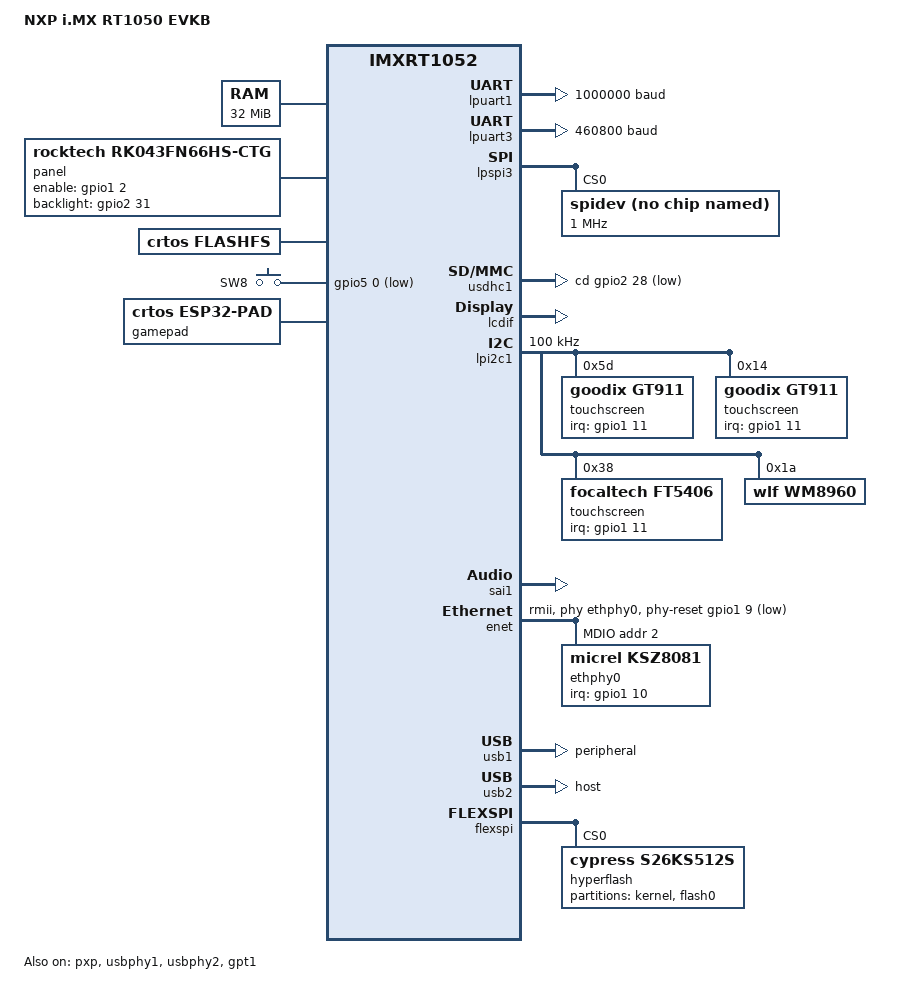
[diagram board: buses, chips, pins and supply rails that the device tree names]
// SPDX-License-Identifier: BSD-3-Clause
/*
 * NXP i.MX RT1050 EVKB board description for CRTOS.
 * Pin settings follow the SDK board examples (elcdif/lvgl, lwip_ping, sdcard).
 */
/dts-v1/;

#include "imxrt1052.dtsi"
#include <dt-bindings/input/input.h>

/ {
	model = "NXP i.MX RT1050 EVKB";
	compatible = "fsl,evkbimxrt1050", "fsl,imxrt1052";

	aliases {
		serial0 = &lpuart1;
		serial3 = &lpuart3;
		spi3 = &lpspi3;
		mmc0 = &usdhc1;
		display0 = &lcdif;
		ethernet0 = &enet;
	};

	chosen {
		stdout-path = "serial0:1000000n8";
		crtos,init = "/sd/crtos/sbin/init.app";
	};

	sdram: memory@80000000 {
		device_type = "memory";
		reg = <0x80000000 0x2000000>;
	};

	/* The panel on the 40-pin RGB connector (and its touch controller on the 6-pin one). EVKB
	 * ships with the RK043FN66HS-CTG (GT911 touch) or the older RK043FN02H-CT (FT5406), both
	 * 480x272; 5"/7" 800x480 panels with the same 40-pin connector fit as well. One mode per
	 * panel: the display starts in native-mode and changes to the size the touch controller
	 * was configured for when it reports one (GT911: fb_suggest_size). The 800x480 panel is
	 * the default because its touch is not detected; the RK043 ones are. */
	panel: panel {
		compatible = "rocktech,rk043fn66hs-ctg", "rocktech,rk043fn02h-ct";
		/* LCD_RST: the reset of the panel's touch controller (the panel's DISP is pulled up
		 * on the board, R67) */
		enable-gpios = <&gpio1 2 GPIO_ACTIVE_HIGH>;
		backlight-gpios = <&gpio2 31 GPIO_ACTIVE_HIGH>;
		bus-width = <16>;

		display-timings {
			native-mode = <&timing1>;

			/* RK043FN66HS / RK043FN02H (from the SDK, RK043FN66HS values) */
			timing0: timing-480x272 {
				clock-frequency = <9300000>;
				hactive = <480>;
				vactive = <272>;
				hfront-porch = <8>;
				hback-porch = <43>;
				hsync-len = <4>;
				vfront-porch = <8>;
				vback-porch = <12>;
				vsync-len = <4>;
				hsync-active = <0>;
				vsync-active = <0>;
				de-active = <1>;
				pixelclk-active = <1>;
			};

			/* 5"/7" 800x480 TFT with a 40-pin RGB connector, DE mode: blanking as in the usual
			 * HV-mode figures (back porch 46 clocks / 23 lines from the sync, front porch 40 /
			 * 12), 27 MHz (24 MHz * 45 / 5 / 8 exactly) for 59.2 Hz - the scan-out reads
			 * 45 MB/s of SDRAM, three times as much as at 480x272 */
			timing1: timing-800x480 {
				clock-frequency = <27000000>;
				hactive = <800>;
				vactive = <480>;
				hfront-porch = <40>;
				hback-porch = <26>;
				hsync-len = <20>;
				vfront-porch = <12>;
				vback-porch = <13>;
				vsync-len = <10>;
				hsync-active = <0>;
				vsync-active = <0>;
				de-active = <1>;
				pixelclk-active = <1>;
			};
		};
	};

	/* files on the unused HyperFlash, programs there run in place (drivers/fs/flashfs.c) */
	flashfs {
		compatible = "crtos,flashfs";
		partition = <&flash0_part>;
		mountpoint = "/flash0";
	};

	gpio-keys {
		compatible = "gpio-keys";
		pinctrl-names = "default";
		pinctrl-0 = <&pinctrl_keys>;

		user-button {
			label = "SW8";
			gpios = <&gpio5 0 GPIO_ACTIVE_LOW>;
			linux,code = <KEY_HOME>;
			debounce-interval = <20>;
		};
	};

	/* The display belongs to the graphics server (gfxd). For a bare hardware check without
	 * it, add a node with compatible = "crtos,touchpaint" (module tests/drivers/touchpaint). */

	/* A DualSense (Edge) pad over Bluetooth through the ESP32 bridge (esp32-s3-bt-mod/):
	 * ESP32 GPIO17 (UART2 TX) -> J22 D0 (LPUART3 RX), GND -> GND. The driver
	 * (drivers/input/esp32-pad) reads the bridge's frames and makes the pad an input device. */
	gamepad {
		compatible = "crtos,esp32-pad";
		port = "/dev/ttyS3";
		current-speed = <460800>;
	};

	/* the TCP/IP stack (lwIP, drivers/net/lwip): sockets on every network interface */
	tcpip {
		compatible = "crtos,lwip";
	};

	/* driven by the example module examples/drivers/hello (tests DT -> module autoloading) */
	hello-test {
		compatible = "crtos,hello";
		label = "device tree test node";
	};
};

&iomuxc {
	pinctrl_lpuart1: lpuart1grp {
		fsl,pins = <
			MXRT1050_IOMUXC_GPIO_AD_B0_12_LPUART1_TXD 0x10b0
			MXRT1050_IOMUXC_GPIO_AD_B0_13_LPUART1_RXD 0x10b0
		>;
	};

	/* Arduino header J22: pin 2 (D1) TX, pin 1 (D0) RX (shared with the camera connector) */
	pinctrl_lpuart3: lpuart3grp {
		fsl,pins = <
			MXRT1050_IOMUXC_GPIO_AD_B1_06_LPUART3_TXD 0x10b0
			MXRT1050_IOMUXC_GPIO_AD_B1_07_LPUART3_RXD 0x10b0
		>;
	};

	/* Arduino header J24: pin 10 SCK, pin 9 SDO (MOSI), pin 1 PCS0. Sending only: the
	 * LPSPI3's SDI (MISO) pads are taken - GPIO_AD_B1_13 is the audio codec's data input
	 * (SAI1_TX_DATA00, below), GPIO_AD_B0_02 (J24 pin 2) the panel's LCD_RST line, the
	 * reset of its touch controller (enable-gpios above): leave that pin unconnected. For reading from a device, swap
	 * MXRT1050_IOMUXC_GPIO_AD_B1_13_LPSPI3_SDI into this group (J35 pin 3) and disable &sai1.
	 * The header's usual SPI pins (J24 3-6) are the SD card's lines on this board. Shared
	 * as well: J24 pin 9 is the ID pin of J9 (USB OTG1), pins 10 and 1 are USB over-current
	 * flags - so say the SDK's pin labels; the EVKB B1 schematic (SPF-30168, page 12) has
	 * I2C1 SDA/SCL on J24 pins 9/10 through R276/R277 instead (not checked on the board). */
	pinctrl_lpspi3: lpspi3grp {
		fsl,pins = <
			MXRT1050_IOMUXC_GPIO_AD_B0_00_LPSPI3_SCK  0x10b0
			MXRT1050_IOMUXC_GPIO_AD_B0_01_LPSPI3_SDO  0x10b0
			MXRT1050_IOMUXC_GPIO_AD_B0_03_LPSPI3_PCS0 0x10b0
		>;
	};

	/* the WM8960 codec: master clock, bit clock, frame sync, data to the DAC */
	pinctrl_sai1: sai1grp {
		fsl,pins = <
			MXRT1050_IOMUXC_GPIO_AD_B1_09_SAI1_MCLK      0x10b0
			MXRT1050_IOMUXC_GPIO_AD_B1_13_SAI1_TX_DATA00 0x10b0
			MXRT1050_IOMUXC_GPIO_AD_B1_14_SAI1_TX_BCLK   0x10b0
			MXRT1050_IOMUXC_GPIO_AD_B1_15_SAI1_TX_SYNC   0x10b0
		>;
	};

	pinctrl_usdhc1: usdhc1grp {
		fsl,pins = <
			MXRT1050_IOMUXC_GPIO_SD_B0_00_USDHC1_CMD     0x17079
			MXRT1050_IOMUXC_GPIO_SD_B0_01_USDHC1_CLK     0x10079
			MXRT1050_IOMUXC_GPIO_SD_B0_02_USDHC1_DATA0   0x17079
			MXRT1050_IOMUXC_GPIO_SD_B0_03_USDHC1_DATA1   0x17079
			MXRT1050_IOMUXC_GPIO_SD_B0_04_USDHC1_DATA2   0x17079
			MXRT1050_IOMUXC_GPIO_SD_B0_05_USDHC1_DATA3   0x17079
			MXRT1050_IOMUXC_GPIO_B1_12_GPIO2_IO28        0x17040
			MXRT1050_IOMUXC_GPIO_AD_B0_05_GPIO1_IO05     0x10b0
			MXRT1050_IOMUXC_GPIO_B1_14_USDHC1_VSELECT    0x170a1
		>;
	};

	pinctrl_lcdif: lcdifgrp {
		fsl,pins = <
			MXRT1050_IOMUXC_GPIO_B0_00_LCD_CLK      0x1b0b0
			MXRT1050_IOMUXC_GPIO_B0_01_LCD_ENABLE   0x1b0b0
			MXRT1050_IOMUXC_GPIO_B0_02_LCD_HSYNC    0x1b0b0
			MXRT1050_IOMUXC_GPIO_B0_03_LCD_VSYNC    0x1b0b0
			MXRT1050_IOMUXC_GPIO_B0_04_LCD_DATA00   0x1b0b0
			MXRT1050_IOMUXC_GPIO_B0_05_LCD_DATA01   0x1b0b0
			MXRT1050_IOMUXC_GPIO_B0_06_LCD_DATA02   0x1b0b0
			MXRT1050_IOMUXC_GPIO_B0_07_LCD_DATA03   0x1b0b0
			MXRT1050_IOMUXC_GPIO_B0_08_LCD_DATA04   0x1b0b0
			MXRT1050_IOMUXC_GPIO_B0_09_LCD_DATA05   0x1b0b0
			MXRT1050_IOMUXC_GPIO_B0_10_LCD_DATA06   0x1b0b0
			MXRT1050_IOMUXC_GPIO_B0_11_LCD_DATA07   0x1b0b0
			MXRT1050_IOMUXC_GPIO_B0_12_LCD_DATA08   0x1b0b0
			MXRT1050_IOMUXC_GPIO_B0_13_LCD_DATA09   0x1b0b0
			MXRT1050_IOMUXC_GPIO_B0_14_LCD_DATA10   0x1b0b0
			MXRT1050_IOMUXC_GPIO_B0_15_LCD_DATA11   0x1b0b0
			MXRT1050_IOMUXC_GPIO_B1_00_LCD_DATA12   0x1b0b0
			MXRT1050_IOMUXC_GPIO_B1_01_LCD_DATA13   0x1b0b0
			MXRT1050_IOMUXC_GPIO_B1_02_LCD_DATA14   0x1b0b0
			MXRT1050_IOMUXC_GPIO_B1_03_LCD_DATA15   0x1b0b0
			MXRT1050_IOMUXC_GPIO_B1_15_GPIO2_IO31   0x10b0
			MXRT1050_IOMUXC_GPIO_AD_B0_02_GPIO1_IO02 0x10b0
		>;
	};

	pinctrl_lpi2c1: lpi2c1grp {
		fsl,pins = <
			MXRT1050_IOMUXC_GPIO_AD_B1_00_LPI2C1_SCL (IMX_PAD_SION | 0xd8b0)
			MXRT1050_IOMUXC_GPIO_AD_B1_01_LPI2C1_SDA (IMX_PAD_SION | 0xd8b0)
		>;
	};

	pinctrl_touch: touchgrp {
		fsl,pins = <
			MXRT1050_IOMUXC_GPIO_AD_B0_11_GPIO1_IO11 0x10b0
		>;
	};

	pinctrl_enet: enetgrp {
		fsl,pins = <
			MXRT1050_IOMUXC_GPIO_B1_04_ENET_RX_DATA00 0xb0e9
			MXRT1050_IOMUXC_GPIO_B1_05_ENET_RX_DATA01 0xb0e9
			MXRT1050_IOMUXC_GPIO_B1_06_ENET_RX_EN     0xb0e9
			MXRT1050_IOMUXC_GPIO_B1_07_ENET_TX_DATA00 0xb0e9
			MXRT1050_IOMUXC_GPIO_B1_08_ENET_TX_DATA01 0xb0e9
			MXRT1050_IOMUXC_GPIO_B1_09_ENET_TX_EN     0xb0e9
			MXRT1050_IOMUXC_GPIO_B1_10_ENET_REF_CLK   (IMX_PAD_SION | 0x31)
			MXRT1050_IOMUXC_GPIO_B1_11_ENET_RX_ER     0xb0e9
			MXRT1050_IOMUXC_GPIO_EMC_40_ENET_MDC      0xb0e9
			MXRT1050_IOMUXC_GPIO_EMC_41_ENET_MDIO     0xb829
			MXRT1050_IOMUXC_GPIO_AD_B0_09_GPIO1_IO09  0xb0a9
			MXRT1050_IOMUXC_GPIO_AD_B0_10_GPIO1_IO10  0xb0a9
		>;
	};

	pinctrl_keys: keysgrp {
		fsl,pins = <
			MXRT1050_IOMUXC_SNVS_WAKEUP_GPIO5_IO00 0x1b0a0
		>;
	};
};

&lpuart1 {
	pinctrl-names = "default";
	pinctrl-0 = <&pinctrl_lpuart1>;
	current-speed = <1000000>;
	status = "okay";
};

/* /dev/ttyS3 (lpuart-imxrt): taken by the pad bridge (gamepad node below) at 460800 baud */
&lpuart3 {
	pinctrl-names = "default";
	pinctrl-0 = <&pinctrl_lpuart3>;
	current-speed = <460800>;
	status = "okay";
};

/* SPI on J24 (lpspi-imxrt): /dev/spidev3.0 for programs. A device with a driver of its own
 * would be another child: compatible, reg = chip select, spi-max-frequency. */
&lpspi3 {
	pinctrl-names = "default";
	pinctrl-0 = <&pinctrl_lpspi3>;
	status = "okay";

	spidev@0 {
		compatible = "crtos,spidev";
		reg = <0>;
		spi-max-frequency = <1000000>;
	};
};

&usdhc1 {
	pinctrl-names = "default";
	pinctrl-0 = <&pinctrl_usdhc1>;
	cd-gpios = <&gpio2 28 GPIO_ACTIVE_LOW>;
	power-gpios = <&gpio1 5 GPIO_ACTIVE_HIGH>;
	max-frequency = <50000000>;
	cap-sd-highspeed;
	status = "okay";
};

&lcdif {
	pinctrl-names = "default";
	pinctrl-0 = <&pinctrl_lcdif>;
	display = <&panel>;
	status = "okay";
};

&pxp {
	status = "okay";
};

&lpi2c1 {
	pinctrl-names = "default";
	pinctrl-0 = <&pinctrl_lpi2c1>;
	clock-frequency = <100000>;
	status = "okay";

	/* only the controller of the fitted panel answers; the other probe fails harmlessly. The
	 * GT911 reports in the resolution it was configured for, which is its panel's: the size of
	 * the display mode it picks (inputd scales touches to the screen) */
	touchscreen@5d {
		compatible = "goodix,gt911";
		reg = <0x5d>;
		pinctrl-names = "default";
		pinctrl-0 = <&pinctrl_touch>;
		interrupt-parent = <&gpio1>;
		interrupts = <11 IRQ_TYPE_EDGE_RISING>;
	};

	/* the same controller at its other address: a GT911 takes 0x14 when its INT line is high
	 * as its reset ends (panels that pull INT up, e.g. the 4.3" 800x480 one of the Waveshare
	 * 16249 module), 0x5d when it is low (RK043FN66HS) */
	touchscreen@14 {
		compatible = "goodix,gt911";
		reg = <0x14>;
		pinctrl-names = "default";
		pinctrl-0 = <&pinctrl_touch>;
		interrupt-parent = <&gpio1>;
		interrupts = <11 IRQ_TYPE_EDGE_RISING>;
	};

	touchscreen@38 {
		compatible = "focaltech,ft5406";
		reg = <0x38>;
		pinctrl-names = "default";
		pinctrl-0 = <&pinctrl_touch>;
		interrupt-parent = <&gpio1>;
		interrupts = <11 IRQ_TYPE_EDGE_FALLING>;
		touchscreen-size-x = <480>;
		touchscreen-size-y = <272>;
		touchscreen-swapped-x-y;
	};

	/* sound: headphone jack J12 and the speaker outputs (sai-imxrt, /dev/audio) */
	wm8960: audio-codec@1a {
		compatible = "wlf,wm8960";
		reg = <0x1a>;
	};
};

&sai1 {
	pinctrl-names = "default";
	pinctrl-0 = <&pinctrl_sai1>;
	audio-codec = <&wm8960>;
	status = "okay";
};

&enet {
	pinctrl-names = "default";
	pinctrl-0 = <&pinctrl_enet>;
	phy-mode = "rmii";
	phy-handle = <&ethphy0>;
	phy-reset-gpios = <&gpio1 9 GPIO_ACTIVE_LOW>;
	phy-reset-duration = <10>;
	status = "okay";

	mdio {
		#address-cells = <1>;
		#size-cells = <0>;

		ethphy0: ethernet-phy@2 {
			compatible = "micrel,ksz8081", "ethernet-phy-ieee802.3-c22";
			reg = <2>;
			interrupt-parent = <&gpio1>;
			interrupts = <10 IRQ_TYPE_LEVEL_LOW>;
		};
	};
};

&usbphy1 {
	status = "okay";
};

/* J9: "peripheral" - the board is a USB serial port of a computer (/dev/ttyACM0, a shell);
 * "host" - keyboards and mice (through a USB OTG adapter). One controller may be a device and
 * the other a host, not both the same. */
&usb1 {
	dr_mode = "peripheral";
	status = "okay";
};

&usbphy2 {
	status = "okay";
};

/* J10: keyboards, mice and hubs (through a USB OTG adapter); the board supplies the 5 V */
&usb2 {
	dr_mode = "host";
	status = "okay";
};

&flexspi {
	status = "okay";

	hyperflash: flash@0 {
		compatible = "cypress,s26ks512s", "cfi-flash";
		reg = <0>;
		size = <0x4000000>;
		/* The kernel image lives in the first 2 MB, the rest is the file system /flash0 */
		partitions {
			compatible = "fixed-partitions";
			#address-cells = <1>;
			#size-cells = <1>;
			partition@0 {
				label = "kernel";
				reg = <0x0 0x200000>;
				read-only;
			};
			flash0_part: partition@200000 {
				label = "flash0";
				reg = <0x200000 0x3e00000>;
			};
		};
	};
};

&gpt1 {
	status = "okay";
};

&edma {
	status = "okay";
};
